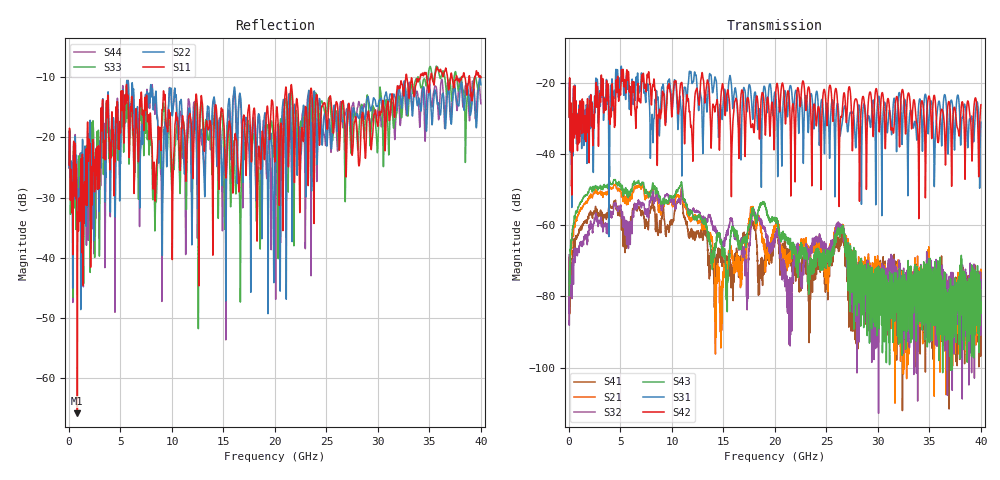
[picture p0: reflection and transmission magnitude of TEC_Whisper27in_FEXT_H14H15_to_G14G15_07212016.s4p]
! TE Connectivity
! H14H15-G14G15_FEXT
!! PART DESCRIPTION: Whisper 27in Megtron 6 HVLP-HVLP-HVLP Channel Model, bulkhead 2.92mm test points
!! MODEL DESCRIPTION: System 4-port S-parameter
!! MODEL STATUS: Measured
!! MODEL GEOMETRY: Channel Model
!! MODEL FREQUENCY RANGE: DC to 40 GHz in 10 MHz frequency steps
!! MODEL EDGE RATE LIMITATION: 12.5 ps (Using conservative 0.5/Fmax rule of thumb)
!! TIME-DOMAIN TRANSFORM CAUTIONS:
!! 1.) Do not simulate transient edge rates faster than the number listed above.  Edge
!!  rates faster than this number contain significant spectral content at frequencies
!!  above the model's highest frequency.
!! 2.) Even when simulating edge rates that are slower than the number listed above, be
!!  aware that the best time resolution possible with a direct iFFT is (1 / 2Fmax).
!!  As a result, time resolution is typically not adequate for most time-domain
!!  simulations unless tricks such as frequency-domain zero-padding and windowing are
!!  used to minimize leakage and aliasing.
!! 3.) Because the model has a uniform frequency step, a direct iFFT will result in an
!!  impulse that that has a time length given by either (1 / Fstep) or (1 / 2Fstep),
!!  depending on the transform being used.  Care has been taken in selecting the
!!  frequency step to ensure a settled impulse response for the model.  Therefore,
!!  convolution with the model's impulse response should present no issues.  However,
!!  if directly concatenating s-parameter models in the frequency domain a user must
!!  either interpolate necessary interim frequencies or complete impulse response
!!  zero-padding.  Impulse response zero-padding is more difficult, but more accurate.
!! PORT DEFINITIONS:
!! Port  1  ----->  Side A  H14  G14  Side B  <-----  Port  2
!! Port  3  ----->  Side A  H15  G15  Side B  <-----  Port  4
! Point-to-Point link (differential)  !
! Connectors:  !
!  1: STRADA Whisper 3.9mm  !
! Materials:  !
!  Backplane: Megtron-6 HVLP  !
!  Daughtercard: Megtron-6 HVLP  !
! Stack-up:  !
!  Backplane: 20 layers, 190mil thick  !
!  Daughtercard: 14 layers, 110mil thick  !
! Trace Length:  !
!  Backplane: 17in  !
!  Daughtercards: 5in  !
! Trace Width:  !
!  Backplane: 5.75-6.25-5.75 mils  !
!  Daughtercards: 6-9-6 mils  !
! Geometry:  !
!  Backplane: Stripline  !
!  Daughtercards: Stripline  !
! Layer Connections:  !
!  Backplane: Layer 16, counterbored(1-6mil stub)  !
!  Daughtercard: Layer 9, counterbored(1-6mil stub) !
! Freq. Range: 0 GHz - 40 GHz  !
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# hz S ma R 50
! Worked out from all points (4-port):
!   4000 points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, 10 MHz to 40 GHz, reference 50 ohm
!   strongest paths, dB at 10 MHz, 10.01 GHz, 20.01 GHz, 30.01 GHz, 40 GHz:
!     S42: -29.7, -28.8, -26.6, -26.3, -26.2
!     S31: -29.8, -28.2, -22.7, -24.4, -31.1
!     S43: -79.8, -52.4, -58.0, -76.3, -81.7
!     S32: -68.4, -52.9, -63.1, -79.4, -75.5
!     S21: -72.1, -54.1, -61.2, -72.9, -77.2
!     S41: -69.1, -59.1, -63.7, -70.6, -77.8
!   lowest |S11| = -65.8 dB at 810 MHz (marker M1), VSWR 1.00, Z = 50 - j0.0493 ohm
!   |S11| at or under -10 dB: start of sweep to 32.71 GHz; 32.81 GHz to 34.11 GHz (1.299 GHz wide, 3.88 % of centre); 38.91 GHz to 39.4 GHz (493 MHz wide, 1.26 % of centre)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
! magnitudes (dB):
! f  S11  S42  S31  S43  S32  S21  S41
! 10 MHz  -24.6  -29.7  -29.8  -79.8  -68.4  -72.1  -69.1
! 810 MHz  -65.8  -37.8  -34.2  -55.7  -68.6  -57.7  -62.9
! 11.06 GHz  -16.9  -23.5  -26.6  -51.4  -51.8  -52.9  -55.2
! 14.77 GHz  -15.4  -23.1  -27.5  -65.4  -64.0  -93.8  -69.4
! 17.79 GHz  -20.7  -32.0  -28.1  -56.1  -56.9  -55.3  -59.2
! 21.44 GHz  -14.4  -27.5  -21.2  -65.0  -74.7  -70.6  -70.8
! 40 GHz  -10.0  -26.2  -31.1  -81.7  -75.5  -77.2  -77.8
